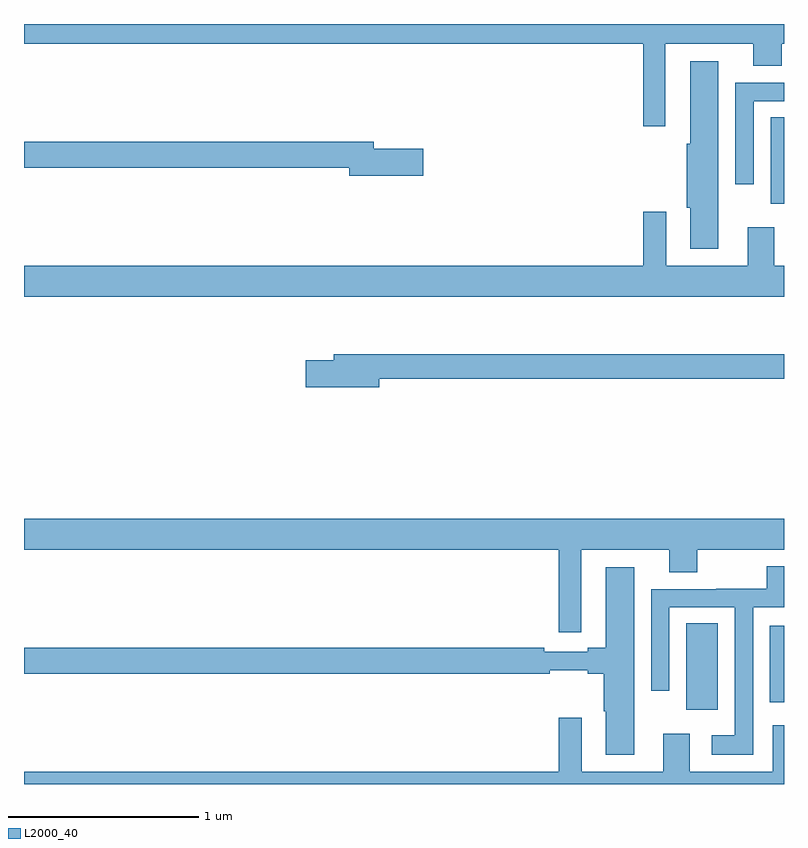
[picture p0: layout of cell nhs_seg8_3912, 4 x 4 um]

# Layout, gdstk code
import gdstk
lib = gdstk.Library(unit=1e-6, precision=1e-09)
def R(c, l, rs):  # rectangles x0, y0, x1, y1
    for r in rs: c.add(gdstk.rectangle(r[:2], r[2:], *l))
def P(c, l, *ps):  # polygons
    for p in ps: c.add(gdstk.Polygon(p, *l))
L2000_40 = (2000, 40)

nhs_seg8_3912 = lib.new_cell('nhs_seg8_3912')
R(nhs_seg8_3912, L2000_40, [(354.485,1150.29,354.652,1150.745), (354.926,1150.329,355,1150.732), (354.929,1152.954,355,1153.409)])
P(nhs_seg8_3912, L2000_40, [(354.376,1153.796),(354.839,1153.796),(354.839,1153.679),(354.987,1153.679),(354.987,1153.796),(355,1153.796),(355,1153.9),(351,1153.9),(351,1153.796),(354.259,1153.796),(354.259,1153.362),(354.376,1153.362)],
  [(354.655,1153.705),(354.506,1153.705),(354.506,1153.269),(354.488,1153.269),(354.488,1152.933),(354.506,1152.933),(354.506,1152.717),(354.655,1152.717)],
  [(354.84,1153.494),(355,1153.494),(355,1153.59),(354.744,1153.59),(354.744,1153.056),(354.84,1153.056)],
  [(353.101,1153.244),(352.84,1153.244),(352.84,1153.28),(351,1153.28),(351,1153.144),(352.712,1153.144),(352.712,1153.102),(353.101,1153.102)],
  [(355,1152.628),(354.949,1152.628),(354.949,1152.829),(354.809,1152.829),(354.809,1152.628),(354.379,1152.628),(354.379,1152.913),(354.258,1152.913),(354.258,1152.628),(351,1152.628),(351,1152.464),(355,1152.464)],
  [(352.87,1152.034),(355,1152.034),(355,1152.163),(352.631,1152.163),(352.631,1152.129),(352.482,1152.129),(352.482,1151.987),(352.87,1151.987)],
  [(353.932,1151.132),(354.395,1151.132),(354.395,1151.015),(354.543,1151.015),(354.543,1151.132),(355,1151.132),(355,1151.296),(351,1151.296),(351,1151.132),(353.815,1151.132),(353.815,1150.698),(353.932,1150.698)],
  [(354.837,1150.83),(355,1150.83),(355,1151.047),(354.91,1151.047),(354.91,1150.928),(354.644,1150.928),(354.644,1150.926),(354.3,1150.926),(354.3,1150.392),(354.396,1150.392),(354.396,1150.83),(354.741,1150.83),(354.741,1150.156),(354.621,1150.156),(354.621,1150.055),(354.837,1150.055)],
  [(354.211,1151.041),(354.062,1151.041),(354.062,1150.616),(353.966,1150.616),(353.966,1150.596),(353.738,1150.596),(353.738,1150.616),(351,1150.616),(351,1150.48),(353.766,1150.48),(353.766,1150.498),(353.966,1150.498),(353.966,1150.48),(354.05,1150.48),(354.05,1150.284),(354.062,1150.284),(354.062,1150.053),(354.211,1150.053)],
  [(355,1150.21),(354.941,1150.21),(354.941,1149.964),(354.505,1149.964),(354.505,1150.165),(354.365,1150.165),(354.365,1149.964),(353.935,1149.964),(353.935,1150.249),(353.814,1150.249),(353.814,1149.964),(351,1149.964),(351,1149.9),(355,1149.9)])

lib.write_gds('nhs_seg8_3912.gds')
